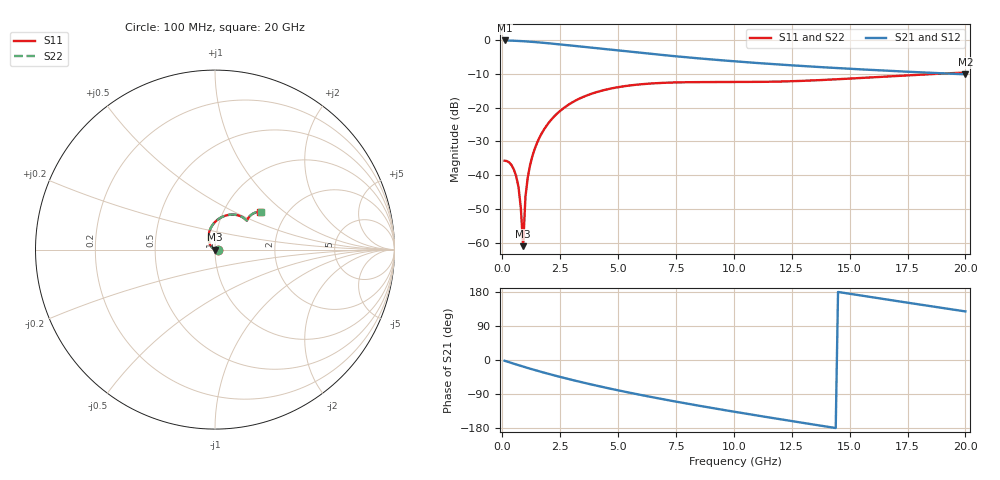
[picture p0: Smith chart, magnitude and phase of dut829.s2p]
! Touchstone file exported from HFSS 2024.1.0
!  File:  C:/UserFiles/LocalFiles/RDL_TSV_Batchsim/temp_RDL_TSV_829_1779917176.aedt
!  Generated:  05:41:14 AM May 28, 2026
!  Design:  RDL_TSV
!  Project:  temp_RDL_TSV_829_1779917176
!  Setup:  Setup1
!  Solution:  Sweep
! Variables:
!  dtsv = 11.75um
!  hbump = 3um
!  htsv = 89um
!  ldown = 469.68um
!  lrdl = 427.66um
!  p = 40
!  p1 = 40.42um
!  rhole = 10um
!  subl = 3119.68um
!  t = 450um
!  tdown = 4.47um
!  trdl = 4.26um
!  viad = 10um
!  wdown = 18.01um
!  wrdl = 14.37um
!  xbump = 18um
# GHz S MA R 50.000000
! Terminal data exported
! Port[1] = TM1_1_T1
! Port[2] = TM1_4_T1
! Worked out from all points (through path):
!   200 points, 100 MHz to 20 GHz, reference 50 ohm
!   highest |S21| = -0.15 dB at 100 MHz (marker M1); lowest = -10.2 dB at 20 GHz (marker M2)
!   group delay of S21, straight-line fit = 30.5 ps
!   lowest |S11| = -60.9 dB at 900 MHz (marker M3), VSWR 1.00, Z = 49.9 - j0.0385 ohm
!   |S11| at or under -10 dB: start of sweep to 18.77 GHz
!   |S22| runs from -60.8 to -9.6 dB; largest |S21 - S12| = 9.4e-15
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0.1  0.01642 -1.0  0.983 -2.0  0.983 -2.0  0.01642 -1.0
! Gamma 0 0 0 0
! Port Impedance 50 0 50 0
0.4  0.01412 -9.9  0.9769 -7.9  0.9769 -7.9  0.01412 -9.9
0.6  0.009684 -18.2  0.9706 -11.7  0.9706 -11.7  0.009672 -18.2
0.7  0.006713 -23.4  0.9668 -13.6  0.9668 -13.6  0.006697 -23.4
0.8  0.003322 -32.8  0.9627 -15.5  0.9627 -15.5  0.003301 -32.8
0.9  0.0008967 -154.5  0.9582 -17.4  0.9582 -17.4  0.000908 -156.0
1  0.004825 160.7  0.9534 -19.2  0.9534 -19.2  0.004855 160.6
1.1  0.009328 153.7  0.9482 -21.1  0.9482 -21.1  0.009364 153.6
1.2  0.01414 149.2  0.9428 -22.9  0.9428 -22.9  0.01418 149.1
1.3  0.01922 145.5  0.9371 -24.7  0.9371 -24.7  0.01927 145.5
1.5  0.03003 139.0  0.9251 -28.2  0.9251 -28.2  0.03009 139.0
1.9  0.05337 127.7  0.8994 -35.0  0.8994 -35.0  0.05347 127.7
2.3  0.0776 117.7  0.8725 -41.5  0.8725 -41.5  0.07772 117.7
2.8  0.1071 106.7  0.8385 -49.3  0.8385 -49.3  0.1073 106.7
3.5  0.1442 93.4  0.7916 -59.7  0.7916 -59.7  0.1444 93.4
4.9  0.1977 73.0  0.7042 -78.7  0.7042 -78.7  0.198 73.0
6.8  0.2311 55.2  0.6043 -101.9  0.6043 -101.9  0.2315 55.2
8.4  0.2382 46.8  0.5375 -119.6  0.5375 -119.6  0.2386 46.8
10.1  0.2388 42.9  0.4814 -137.4  0.4814 -137.4  0.2392 42.9
13.4  0.2521 43.3  0.4034 -169.9  0.4034 -169.9  0.2525 43.3
16.7  0.2902 43.5  0.3499 158.8  0.3499 158.8  0.2907 43.5
20  0.3294 39.7  0.3105 128.2  0.3105 128.2  0.3302 39.8
